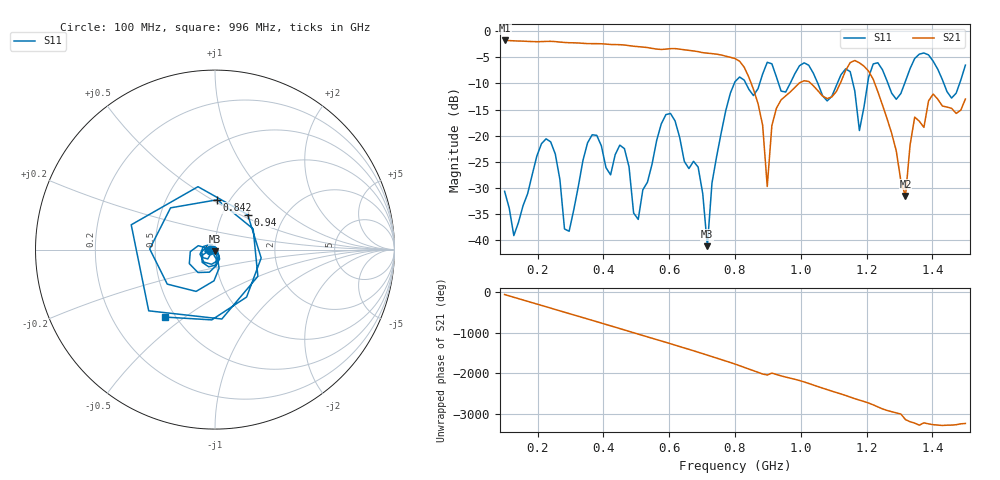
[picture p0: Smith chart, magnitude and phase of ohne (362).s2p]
! NanoVNA-App
! Date: 2025-09-25 14:23:37
! Start: 100MHz Stop: 1,5GHz Points: 101
! S-Parameter data: F S11 S21 S12 S22
# Hz S RI R 50
!  Frequency  S11_Real  S11_Imag  S21_Real  S21_Imag  S12_Real  S12_Imag  S22_Real  S22_Imag
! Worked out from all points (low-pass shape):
!   101 points, 100 MHz to 1.5 GHz, reference 50 ohm
!   highest |S21| = -1.79 dB at 100 MHz (marker M1); lowest = -31.5 dB at 1.318 GHz (marker M2)
!   |S21| within 3 dB of the highest: start of sweep to 771.4 MHz
!   lowest |S11| = -41.1 dB at 716 MHz (marker M3), VSWR 1.02, Z = 49.8 - j0.864 ohm
!   |S11| at or under -10 dB: start of sweep to 797.9 MHz; 833 MHz to 875.1 MHz (42.04 MHz wide, 4.92 % of centre); 1.052 GHz to 1.111 GHz (59.15 MHz wide, 5.47 % of centre) (the widest 3 of 7)
!   S12 and S22 are empty: the file has one direction only
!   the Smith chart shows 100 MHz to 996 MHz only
!   S11 on the Smith chart (normalised r, x): 100 MHz: 0.94, -0.01; 842 MHz: 0.88, +0.53; 940 MHz: 1.31, +0.55; 996 MHz: 0.44, -0.42
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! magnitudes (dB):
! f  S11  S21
! 100 MHz  -30.6  -1.8
! 128 MHz  -39.1  -1.9
! 226 MHz  -20.6  -2.0
! 296 MHz  -38.3  -2.2
! 338 MHz  -24.7  -2.3
! 464 MHz  -22.5  -2.7
! 506 MHz  -36.0  -3.0
! 576 MHz  -17.7  -3.5
! 688 MHz  -26.0  -3.9
! 716 MHz  -41.1  -4.2
! 800 MHz  -9.7  -5.3
! 842 MHz  -11.1  -8.8
! 898 MHz  -6.0  -29.7
! 940 MHz  -11.5  -13.2
! 996 MHz  -6.6  -9.9
! 1.038 GHz  -8.1  -10.5
! 1.178 GHz  -19.0  -6.1
! 1.22 GHz  -6.3  -9.2
! 1.276 GHz  -11.9  -19.5
! 1.318 GHz  -9.6  -31.5
! 1.346 GHz  -5.2  -16.4
! 1.5 GHz  -6.5  -13.0
